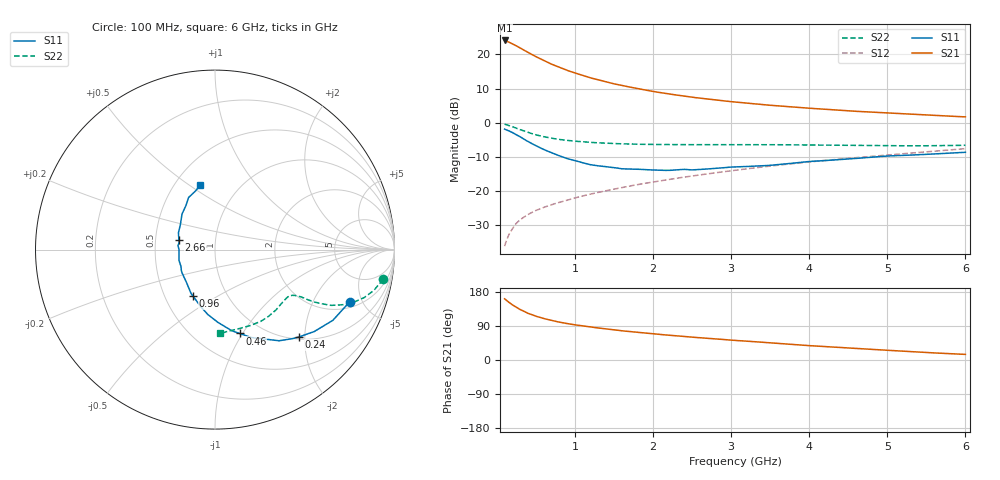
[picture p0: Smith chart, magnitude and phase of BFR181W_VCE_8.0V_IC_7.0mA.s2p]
! Infineon Technologies  Discrete & RF Semiconductors
! BFR181W
! VCE =  8.0 V,  IC =  7.0 mA
! Common Emitter S-Parameters:  Nov 2015
# GHz  S  MA  R  50
!  f  S11  S21  S12  S22
! GHz  MAG  ANG  MAG  ANG  MAG  ANG  MAG  ANG
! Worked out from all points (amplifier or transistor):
!   192 points, 100 MHz to 6 GHz, reference 50 ohm
!   highest |S21| = 24.1 dB at 100 MHz (marker M1)
!   |S21| within 3 dB of that: start of sweep to 360.8 MHz
!   unconditionally stable (mu >= 1): 1.371 GHz to 3.108 GHz
!   at 440 MHz: K = 0.58, MSG = 23.2 dB, |S12| = -26.4 dB
!   at 1.7 GHz: K = 1.03, MAG = 13.4 dB, |S12| = -18.5 dB
!   at 6 GHz: K = 0.81, MSG = 4.7 dB, |S12| = -7.6 dB
!   S11 on the Smith chart (normalised r, x): 100 MHz: 2.40, -3.96; 240 MHz: 1.05, -1.87; 460 MHz: 0.79, -0.97; 960 MHz: 0.69, -0.39; 2.66 GHz: 0.66, +0.08; 6 GHz: 0.67, +0.55
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0.1  0.8048 -21.2  15.96 161.5  0.0156 79.0  0.951 -10.0
0.15  0.7657 -31.0  15.18 153.0  0.0225 74.8  0.9148 -14.3
0.2  0.7168 -39.6  14.28 145.5  0.0281 70.9  0.8735 -17.8
0.24  0.6755 -46.1  13.51 140.3  0.0327 68.5  0.8383 -20.0
0.3  0.6208 -54.9  12.36 133.0  0.038 65.6  0.79 -22.8
0.4  0.5298 -67.6  10.68 123.1  0.0454 63.1  0.719 -25.6
0.46  0.4868 -73.7  9.809 118.9  0.0493 62.2  0.6861 -26.4
0.5  0.4617 -78.3  9.262 115.6  0.0519 61.6  0.6642 -27.0
0.6  0.4058 -87.7  8.125 109.4  0.0576 61.1  0.6231 -27.9
0.7  0.3638 -96.3  7.186 104.2  0.063 61.5  0.5922 -28.3
0.8  0.328 -104.0  6.457 99.9  0.0683 61.8  0.5684 -28.6
0.96  0.2863 -115.4  5.526 94.2  0.077 62.6  0.5421 -28.9
1.1  0.2593 -124.2  4.923 90.1  0.0847 63.2  0.5252 -29.4
1.2  0.2427 -130.8  4.526 86.9  0.0902 63.6  0.5141 -29.8
1.5  0.2208 -148.2  3.705 79.4  0.1066 64.7  0.4947 -31.2
1.8  0.2094 -163.4  3.155 73.0  0.124 65.5  0.4837 -33.0
2.08  0.2015 -175.9  2.769 67.7  0.1403 65.6  0.4793 -35.3
2.66  0.2088 164.4  2.247 58.0  0.1758 65.5  0.4767 -40.8
3.1  0.2261 153.1  1.981 51.1  0.2044 64.9  0.4773 -45.8
4.1  0.2745 130.8  1.599 36.7  0.2731 61.3  0.472 -59.1
5.1  0.3285 115.1  1.369 24.5  0.3435 56.8  0.4599 -73.5
6  0.3687 102.8  1.216 14.8  0.4167 52.2  0.4673 -86.3
